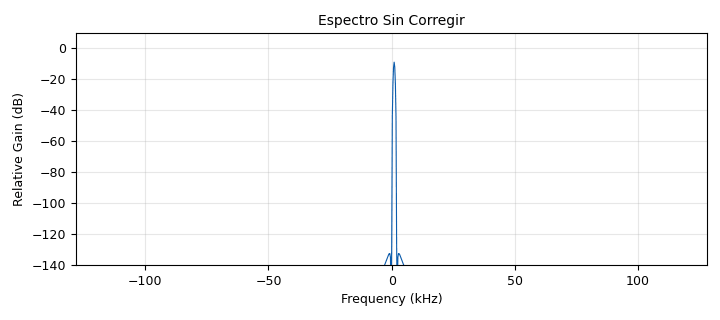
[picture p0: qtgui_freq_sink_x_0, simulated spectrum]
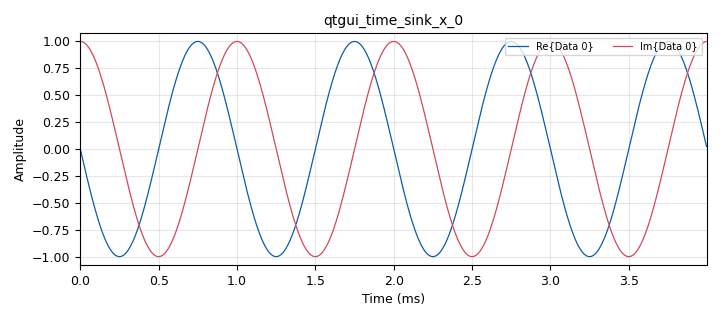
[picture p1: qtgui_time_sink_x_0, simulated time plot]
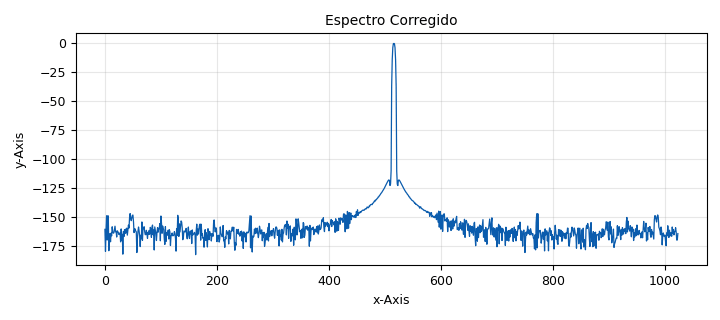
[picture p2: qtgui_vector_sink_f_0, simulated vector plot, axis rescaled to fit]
options:
  parameters:
    author: mateo
    generate_options: qt_gui
    id: TP11b
    output_language: python
    title: Not titled yet
  states: {}

blocks:
- name: current_window
  id: variable
  parameters:
    value: window.flattop(vector_len)
  states: {}
- name: fm
  id: variable_qtgui_range
  parameters:
    gui_hint: (0,0,1,2)
    label: fm
    start: '0'
    step: '100'
    stop: 10e3
    value: 1e3
  states: {}
- name: samp_rate
  id: variable
  parameters:
    value: 256e3
  states: {}
- name: vector_len
  id: variable
  parameters:
    value: '1024'
  states: {}
- name: window_factor
  id: variable
  parameters:
    value: np.sum(pow(np.asarray(current_window),1))/vector_len
  states: {}
- name: analog_sig_source_x_0
  id: analog_sig_source_x
  parameters:
    amp: '1'
    freq: fm
    offset: '0'
    phase: '0'
    samp_rate: samp_rate
    type: complex
    waveform: analog.GR_COS_WAVE
  states: {}
- name: blocks_complex_to_mag_0_0
  id: blocks_complex_to_mag
  parameters:
    vlen: vector_len
  states: {}
- name: blocks_multiply_const_vxx_0
  id: blocks_multiply_const_vxx
  parameters:
    const: 1/(window_factor*np.ones(vector_len)*vector_len)
    type: float
    vlen: vector_len
  states: {}
- name: blocks_nlog10_ff_0
  id: blocks_nlog10_ff
  parameters:
    k: '0'
    n: '20'
    vlen: vector_len
  states: {}
- name: blocks_stream_to_vector_0
  id: blocks_stream_to_vector
  parameters:
    num_items: vector_len
    type: complex
  states: {}
- name: blocks_throttle_0
  id: blocks_throttle
  parameters:
    samples_per_second: samp_rate
    type: complex
  states: {}
- name: fft_vxx_0
  id: fft_vxx
  parameters:
    fft_size: '1024'
    forward: 'True'
    shift: 'True'
    type: complex
    window: current_window
  states: {}
- name: import_0
  id: import
  parameters:
    imports: import numpy as np
  states: {}
- name: qtgui_freq_sink_x_0
  id: qtgui_freq_sink_x
  parameters:
    alias: Espectro sin corregir
    bw: samp_rate
    fc: '0'
    fftsize: '1024'
    gui_hint: (2,0,1,1)
    name: '"Espectro Sin Corregir"'
    type: complex
  states: {}
- name: qtgui_time_sink_x_0
  id: qtgui_time_sink_x
  parameters:
    gui_hint: (1,0,1,2)
    size: '1024'
    srate: samp_rate
    type: complex
  states: {}
- name: qtgui_vector_sink_f_0
  id: qtgui_vector_sink_f
  parameters:
    gui_hint: (2,1,1,1)
    name: '"Espectro Corregido"'
    vlen: '1024'
    x_start: '0'
    x_step: '1.0'
  states: {}

connections:
- [analog_sig_source_x_0, '0', blocks_throttle_0, '0']
- [blocks_complex_to_mag_0_0, '0', blocks_multiply_const_vxx_0, '0']
- [blocks_multiply_const_vxx_0, '0', blocks_nlog10_ff_0, '0']
- [blocks_nlog10_ff_0, '0', qtgui_vector_sink_f_0, '0']
- [blocks_stream_to_vector_0, '0', fft_vxx_0, '0']
- [blocks_throttle_0, '0', blocks_stream_to_vector_0, '0']
- [blocks_throttle_0, '0', qtgui_freq_sink_x_0, '0']
- [blocks_throttle_0, '0', qtgui_time_sink_x_0, '0']
- [fft_vxx_0, '0', blocks_complex_to_mag_0_0, '0']

metadata:
  file_format: 1
  grc_version: 3.10.5.1
